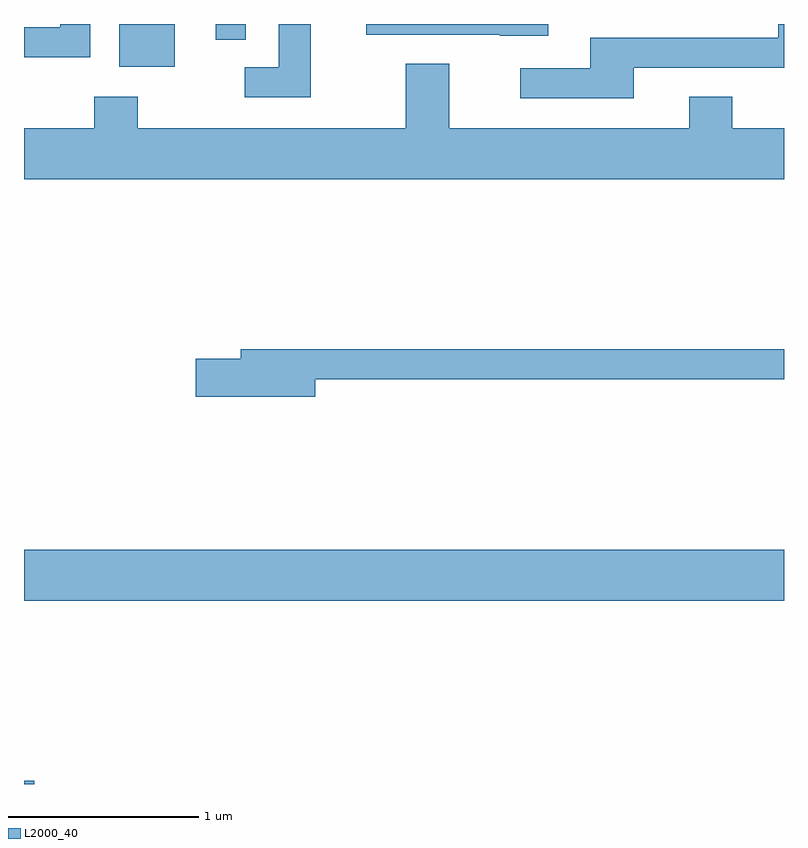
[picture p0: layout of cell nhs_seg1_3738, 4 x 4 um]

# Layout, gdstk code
import gdstk
lib = gdstk.Library(unit=1e-6, precision=1e-09)
def R(c, l, rs):  # rectangles x0, y0, x1, y1
    for r in rs: c.add(gdstk.rectangle(r[:2], r[2:], *l))
def P(c, l, *ps):  # polygons
    for p in ps: c.add(gdstk.Polygon(p, *l))
L2000_40 = (2000, 40)

nhs_seg1_3738 = lib.new_cell('nhs_seg1_3738')
R(nhs_seg1_3738, L2000_40, [(297.611,909.712,297.664,909.729), (297.611,910.676,301.611,910.944), (298.111,913.486,298.404,913.712), (298.621,913.628,298.779,913.712)])
P(nhs_seg1_3738, L2000_40, [(299.119,913.712),(298.951,913.712),(298.951,913.484),(298.773,913.484),(298.773,913.326),(299.119,913.326)],
  [(300.369,913.712),(299.411,913.712),(299.411,913.656),(300.115,913.656),(300.115,913.651),(300.369,913.651)],
  [(297.959,913.712),(297.801,913.712),(297.801,913.694),(297.611,913.694),(297.611,913.536),(297.959,913.536)],
  [(300.819,913.481),(301.611,913.481),(301.611,913.712),(301.581,913.712),(301.581,913.639),(300.591,913.639),(300.591,913.479),(300.223,913.479),(300.223,913.321),(300.819,913.321)],
  [(301.611,913.164),(301.339,913.164),(301.339,913.329),(301.111,913.329),(301.111,913.164),(299.849,913.164),(299.849,913.504),(299.621,913.504),(299.621,913.164),(298.209,913.164),(298.209,913.329),(297.981,913.329),(297.981,913.164),(297.611,913.164),(297.611,912.896),(301.611,912.896)],
  [(299.144,911.841),(301.611,911.841),(301.611,911.999),(298.751,911.999),(298.751,911.949),(298.516,911.949),(298.516,911.751),(299.144,911.751)])

lib.write_gds('nhs_seg1_3738.gds')
